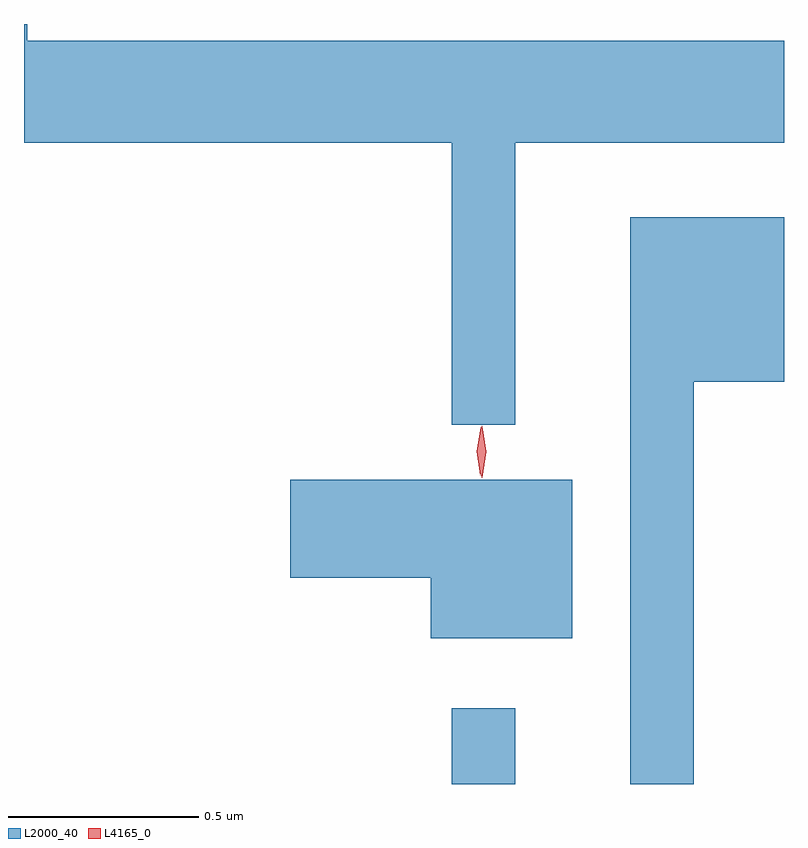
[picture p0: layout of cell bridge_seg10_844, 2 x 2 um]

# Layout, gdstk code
import gdstk
lib = gdstk.Library(unit=1e-6, precision=1e-09)
def R(c, l, rs):  # rectangles x0, y0, x1, y1
    for r in rs: c.add(gdstk.rectangle(r[:2], r[2:], *l))
def P(c, l, *ps):  # polygons
    for p in ps: c.add(gdstk.Polygon(p, *l))
L2000_40 = (2000, 40)
L4165_0 = (4165, 0)

bridge_seg10_844 = lib.new_cell('bridge_seg10_844')
R(bridge_seg10_844, L2000_40, [(356.321,2098.908,356.489,2099.108)])
P(bridge_seg10_844, L2000_40, [(356.489,2100.596),(357.196,2100.596),(357.196,2100.864),(355.204,2100.864),(355.204,2100.908),(355.196,2100.908),(355.196,2100.596),(356.321,2100.596),(356.321,2099.853),(356.489,2099.853)],
  [(356.959,2099.966),(357.196,2099.966),(357.196,2100.399),(356.791,2100.399),(356.791,2098.908),(356.959,2098.908)],
  [(356.639,2099.709),(355.896,2099.709),(355.896,2099.451),(356.266,2099.451),(356.266,2099.291),(356.639,2099.291)])
P(bridge_seg10_844, L4165_0, [(356.401,2099.714),(356.392,2099.782),(356.401,2099.85),(356.402,2099.85),(356.402,2099.85),(356.412,2099.782),(356.402,2099.714),(356.402,2099.714)],
  [(356.396,2099.72),(356.396,2099.721),(356.387,2099.784),(356.398,2099.846),(356.398,2099.847),(356.399,2099.846),(356.407,2099.783),(356.397,2099.721)])

lib.write_gds('bridge_seg10_844.gds')
